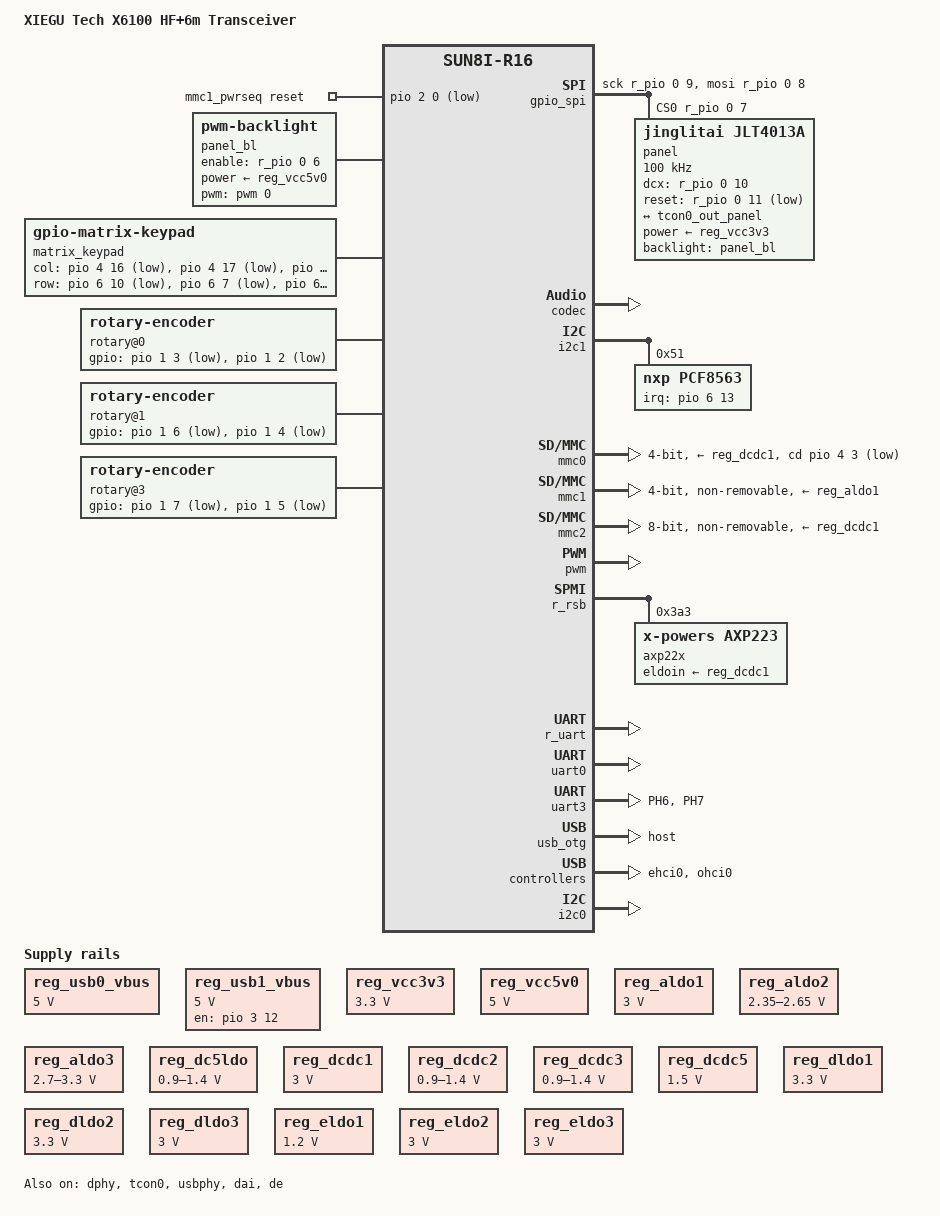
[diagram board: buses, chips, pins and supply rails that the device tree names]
/dts-v1/;

/*
 * Decompiled, and cleaned up device tree file for the X6100.
 * Thanks <apritzel> from #linux-sunxi @ OFTC (https://oftc.net/)
 */

#include "sun8i-a33.dtsi"

#include <dt-bindings/gpio/gpio.h>
#include <dt-bindings/input/input.h>
#include <dt-bindings/interrupt-controller/irq.h>

/ {
	model = "XIEGU Tech X6100 HF+6m Transceiver";
	compatible = "xiegu,x6100", "allwinner,sun8i-r16";

	aliases {
		serial0 = &uart0;
		mmc0 = &mmc0;
		mmc1 = &mmc1;
		mmc2 = &mmc2;
	};

	chosen {
		stdout-path = "serial0:115200n8";
	};

	reserved-memory {
		#address-cells = <1>;
		#size-cells = <1>;
		ranges;

		mali_cma: cma@4a000000 {
			compatible = "shared-dma-pool";
			size = <0x8000000>;
			alloc-ranges = <0x4a000000 0x8000000>;
			reusable;
			linux,cma-default;
		};
	};

	mmc1_pwrseq: mmc1-pwrseq {
		compatible = "mmc-pwrseq-simple";
		reset-gpios = <&pio 2 0 GPIO_ACTIVE_LOW>;	/* PC0 */
	};

	// voltage regulators from sunxi-common-regulators.dtsi
	reg_usb0_vbus: usb0-vbus {
		compatible = "regulator-fixed";
		regulator-name = "usb0-vbus";
		regulator-min-microvolt = <5000000>;
		regulator-max-microvolt = <5000000>;
		regulator-always-on;
	};

	reg_usb1_vbus: usb1-vbus {
		compatible = "regulator-fixed";
		regulator-name = "usb1-vbus";
		regulator-min-microvolt = <5000000>;
		regulator-max-microvolt = <5000000>;
		regulator-boot-on;
		enable-active-high;
		gpio = <&pio 3 12 GPIO_ACTIVE_HIGH>;	/* PD12 */
	};

	reg_vcc3v3: vcc3v3 {
		compatible = "regulator-fixed";
		regulator-name = "vcc3v3";
		regulator-min-microvolt = <3300000>;
		regulator-max-microvolt = <3300000>;
	};

	reg_vcc5v0: vcc5v0 {
		compatible = "regulator-fixed";
		regulator-name = "vcc5v0";
		regulator-min-microvolt = <5000000>;
		regulator-max-microvolt = <5000000>;
	};

	panel_bl: backlight {
		compatible = "pwm-backlight";
		pwms = <&pwm 0 50000 0>;
		brightness-levels = <0 10 20 30 40 50 60 70 80 90 100>;
		default-brightness-level = <5>;
		enable-gpios = <&r_pio 0 6 GPIO_ACTIVE_HIGH>; /* PL6 */
		power-supply = <&reg_vcc5v0>;
	};

	gpio_spi: gpio_spi {
		compatible = "spi-gpio";
		/* Clock on PL9, pin SCL */
		sck-gpios = <&r_pio 0 9 GPIO_ACTIVE_HIGH>;
		/* MOSI on PL8, pin SDI "slave data in" */
		mosi-gpios = <&r_pio 0 8 GPIO_ACTIVE_HIGH>;
		/* MISO on P??, pin SDO "slave data out" */
		//miso-gpios = <&r_pio 0 ? GPIO_ACTIVE_HIGH>;
		/* Chip select on PL7 */
		cs-gpios = <&r_pio 0 7 GPIO_ACTIVE_HIGH>;
		num-chipselects = <1>;

		#address-cells = <1>;
		#size-cells = <0>;

		panel@0 {
			compatible = "jinglitai,jlt4013a";
			spi-max-frequency = <100000>;

			reg = <0>;
			power-supply = <&reg_vcc3v3>;

			/* dcx on PL10 */
			/* Xiegu has GPIO_ACTIVE_LOW for dcx??? */
			dcx-gpios = <&r_pio 0 10 GPIO_ACTIVE_HIGH>;
			/* reset on PL11 */
			reset-gpios = <&r_pio 0 11 GPIO_ACTIVE_LOW>;

			backlight = <&panel_bl>;

			port {
				panel_in: endpoint {
					remote-endpoint = <&tcon0_out_panel>;
				};
			};
		};
	};

	// inputs
	matrix_keypad: matrix-keypad@0 {
		compatible = "gpio-matrix-keypad";
		col-gpios = <		/* PE11-PE17 */
			&pio 4 16 GPIO_ACTIVE_LOW
			&pio 4 17 GPIO_ACTIVE_LOW
			&pio 4 11 GPIO_ACTIVE_LOW
			&pio 4 14 GPIO_ACTIVE_LOW
			&pio 4 12 GPIO_ACTIVE_LOW
			&pio 4 13 GPIO_ACTIVE_LOW
		>;
		row-gpios = <		/* PG6-PG10 */
			&pio 6 10 (GPIO_ACTIVE_LOW|GPIO_OPEN_DRAIN|GPIO_PULL_UP)
			&pio 6  7 (GPIO_ACTIVE_LOW|GPIO_OPEN_DRAIN|GPIO_PULL_UP)
			&pio 6  6 (GPIO_ACTIVE_LOW|GPIO_OPEN_DRAIN|GPIO_PULL_UP)
			&pio 6  8 (GPIO_ACTIVE_LOW|GPIO_OPEN_DRAIN|GPIO_PULL_UP)
			&pio 6  9 (GPIO_ACTIVE_LOW|GPIO_OPEN_DRAIN|GPIO_PULL_UP)
		>;
		linux,keymap = <
			MATRIX_KEY(0, 0, BTN_TRIGGER_HAPPY1)
			MATRIX_KEY(0, 1, BTN_TRIGGER_HAPPY2)
			MATRIX_KEY(0, 2, BTN_TRIGGER_HAPPY3)
			MATRIX_KEY(0, 3, BTN_TRIGGER_HAPPY4)
			MATRIX_KEY(0, 4, BTN_TRIGGER_HAPPY5)
			MATRIX_KEY(0, 5, BTN_TRIGGER_HAPPY6)
			MATRIX_KEY(1, 0, BTN_TRIGGER_HAPPY7)
			MATRIX_KEY(1, 1, BTN_TRIGGER_HAPPY8)
			MATRIX_KEY(1, 2, BTN_TRIGGER_HAPPY9)
			MATRIX_KEY(1, 3, BTN_TRIGGER_HAPPY10)
			MATRIX_KEY(1, 4, BTN_TRIGGER_HAPPY11)
			MATRIX_KEY(1, 5, BTN_TRIGGER_HAPPY12)
			MATRIX_KEY(2, 0, BTN_TRIGGER_HAPPY13)
			MATRIX_KEY(2, 1, BTN_TRIGGER_HAPPY14)
			MATRIX_KEY(2, 2, BTN_TRIGGER_HAPPY15)
			MATRIX_KEY(2, 3, BTN_TRIGGER_HAPPY16)
			MATRIX_KEY(2, 4, BTN_TRIGGER_HAPPY17)
			MATRIX_KEY(2, 5, BTN_TRIGGER_HAPPY18)
			MATRIX_KEY(3, 0, BTN_TRIGGER_HAPPY19)
			MATRIX_KEY(3, 1, BTN_TRIGGER_HAPPY20)
			MATRIX_KEY(3, 2, BTN_TRIGGER_HAPPY21)
			MATRIX_KEY(3, 3, BTN_TRIGGER_HAPPY22)
			MATRIX_KEY(3, 4, BTN_TRIGGER_HAPPY23)
			MATRIX_KEY(3, 5, BTN_TRIGGER_HAPPY24)
			MATRIX_KEY(4, 0, BTN_TRIGGER_HAPPY25)
			MATRIX_KEY(4, 1, BTN_TRIGGER_HAPPY26)
			MATRIX_KEY(4, 2, BTN_TRIGGER_HAPPY27)
			MATRIX_KEY(4, 3, BTN_TRIGGER_HAPPY28)
			MATRIX_KEY(4, 4, BTN_TRIGGER_HAPPY29)
			MATRIX_KEY(4, 5, BTN_TRIGGER_HAPPY30)
		>;
		gpio-activelow;
		wakeup-source;
		linux,no-autorepeat;
		debounce-delay-ms = <25>;
		col-scan-delay-us = <1>;
		drive-inactive-cols;
	};

	rotary@0 {
		compatible = "rotary-encoder";
		pinctrl-names = "default";
		pinctrl-0 = <&rotary_1_pins>;
		gpios = <&pio 1 3 GPIO_ACTIVE_LOW>,	/* PB3 */
			<&pio 1 2 GPIO_ACTIVE_LOW>;	/* PB2 */
		linux,axis = <REL_X>;
		rotary-encoder,encoding = "gray";
		rotary-encoder,relative-axis;
	};

	rotary@1 {
		compatible = "rotary-encoder";
		pinctrl-names = "default";
		pinctrl-0 = <&rotary_2_pins>;
		gpios = <&pio 1 6 GPIO_ACTIVE_LOW>,	/* PB6 */
			<&pio 1 4 GPIO_ACTIVE_LOW>;	/* PB4 */
		linux,axis = <REL_Y>;
		rotary-encoder,encoding = "gray";
		rotary-encoder,relative-axis;
	};

	rotary@3 {
		compatible = "rotary-encoder";
		pinctrl-names = "default";
		pinctrl-0 = <&rotary_3_pins>;
		gpios = <&pio 1 7 GPIO_ACTIVE_LOW>,	/* PB7 */
			<&pio 1 5 GPIO_ACTIVE_LOW>;	/* PB5 */
		linux,axis = <REL_Z>;
		rotary-encoder,encoding = "gray";
		rotary-encoder,relative-axis;
	};
};


// fix properties
&codec {
	#sound-dai-cells = <0>;
};

&dphy {
	/delete-property/ interrupts;
};

&i2c1 {
	pcf8563: PCF8563@51 {			// rtc
		compatible = "nxp,pcf8563";
		reg = <0x51>;
		interrupt-parent = <&pio>;
		interrupts = <6 13 IRQ_TYPE_EDGE_FALLING>;
		interrupt-names = "irq";
		irq-gpios = <&pio 6 13 GPIO_ACTIVE_HIGH>;	/* PG13 */
	};
};

&lradc {
	/delete-property/ interrupt-parent;
};

&mali {
	memory-region = <&mali_cma>;
};

&mmc0 {
	vmmc-supply = <&reg_dcdc1>;
	cd-gpios = <&pio 4 3 GPIO_ACTIVE_LOW>;	/* PE3 */
	bus-width = <4>;
};

&mmc1 {
	pinctrl-names = "default";
	pinctrl-0 = <&mmc1_pg_pins>;
	vmmc-supply = <&reg_aldo1>;
	mmc-pwrseq = <&mmc1_pwrseq>;
	bus-width = <4>;
	non-removable;
};

&mmc2 {
	pinctrl-names = "default";
	pinctrl-0 = <&mmc2_8bit_pins>;
	vmmc-supply = <&reg_dcdc1>;
	bus-width = <8>;
	non-removable;
	cap-mmc-hw-reset;
};

&mmc2_8bit_pins {
	drive-strength = <40>;
};

&pio {
	/delete-property/ interrupt-parent;

	vcc-pb-supply = <&reg_vcc3v3>;
	vcc-pc-supply = <&reg_vcc3v3>;
	vcc-pd-supply = <&reg_vcc3v3>;
	vcc-pe-supply = <&reg_vcc3v3>;
	vcc-pf-supply = <&reg_vcc3v3>;
	vcc-pg-supply = <&reg_vcc3v3>;
	vcc-ph-supply = <&reg_vcc3v3>;
	vcc-pl-supply = <&reg_vcc3v3>;

	gpio-line-names =
		"", "", "", "", "", "", "", "", "", "", "", "", "", "", "", "",
		"", "", "", "", "", "", "", "", "", "", "", "", "", "", "", "",
		"PB0", "PB1", "rotary_1/1", "rotary_1/0", "rorary_2/1", "rotary_3/1", "rotary_2/0", "rotary_3/0", "", "", "", "", "", "", "", "",
		"", "", "", "", "", "", "", "", "", "", "", "", "", "", "", "",
		"mmc1_pwrseq/reset", "PC1", "PC2", "PC3", "PC4", "PC5", "PC6", "PC7", "PC8", "PC9", "PC10", "PC11", "PC12", "PC13", "PC14", "PC15",
		"PC16", "", "", "", "", "", "", "", "", "", "", "", "", "", "", "",
		"", "", "PD2", "PD3", "PD4", "PD5", "PD6", "PD7", "", "", "PD10", "PD11", "usb1_vbus", "PD13", "PD14", "PD15",
		"", "", "PD18", "PD19", "PD20", "PD21", "PD22", "PD23", "PD24", "PD25", "PD26", "PD27", "", "", "", "",
		"PE0", "PE1", "PE2", "mmc0/cd", "PE4", "PE5", "PE6", "PE7", "PE8", "PE9", "civ", "matrix_keypad/col2", "matrix_keypad/col4", "matrix_keypad/col5", "matrix_keypad/col3", "keyboard_backlight",
		"matrix_keypad/col0", "matrix_keypad/col1", "", "", "", "", "", "", "", "", "", "", "", "", "", "",
		"PF0", "PF1", "PF2", "PF3", "PF4", "PF5", "", "", "", "", "", "", "", "", "", "",
		"", "", "", "", "", "", "", "", "", "", "", "", "", "", "", "",
		"PG0", "PG1", "PG2", "PG3", "PG4", "PG5", "matrix_keypad/row2", "matrix_keypad/row1", "matrix_keypad/row3", "matrix_keypad/row4", "matrix_keypad/row0", "morse_key", "bb_reset", "rtc/irq", "", "",
		"", "", "", "", "", "", "", "", "", "", "", "", "", "", "", "",
		"PH0", "PH1", "PH2", "PH3", "PH4", "PH5", "uart3/rx", "uart3/tx", "usb0/id_detect", "usb0/vbus_detect", "", "", "", "", "", "",
		"", "", "", "", "", "", "", "", "", "", "", "", "", "", "", "";

	usb0_id_detect_pin: usb0_id_detect_pin@0 {
		pins = "PH8";
		function = "gpio_in";
		bias-pull-up;
	};

	usb0_vbus_detect_pin: usb0_vbus_detect_pin@0 {
		pins = "PH9";
		function = "gpio_in";
		bias-pull-down;
	};

	uart3_pins: uart3@0 {
		pins = "PH6", "PH7";
		function = "uart3";
	};

	rotary_1_pins: rotary-1-pins {
		pins = "PB2", "PB3";
		function = "gpio_in";
		bias-pull-up;
	};

	rotary_2_pins: rotary-2-pins {
		pins = "PB4", "PB6";
		function = "gpio_in";
		bias-pull-up;
	};

	rotary_3_pins: rotary-3-pins {
		pins = "PB5", "PB7";
		function = "gpio_in";
		bias-pull-up;
	};
};

&pwm {
	pinctrl-names = "default";
	pinctrl-0 = <&pwm0_pin>;
};

&r_intc {
	#interrupt-cells = <2>;
};

&r_pio {
	/delete-property/ interrupt-parent;

	resets = <&apb0_rst 0>;

	gpio-line-names =
		"PL0", "PL1", "PL2", "PL3", "PL4", "wifi", "panel_backlight/enable", "gpio_spi/cs", "gpio_spi/mosi", "gpio_spi/sck", "panel/dcx", "panel/reset", "", "", "", "",
		"", "", "", "", "", "", "", "", "", "", "", "", "", "", "", "";
};

&r_rsb {
	axp22x: pmic@3a3 {
		compatible = "x-powers,axp223";
		reg = <0x3a3>;
		interrupt-parent = <&r_intc>;
		//interrupts = <GIC_SPI 32 IRQ_TYPE_LEVEL_LOW>;
		interrupts = <0 8>;
		eldoin-supply = <&reg_dcdc1>;
	};
};

#include "axp223.dtsi"

/delete-node/ &axp_gpio;

&reg_aldo1 {
	regulator-name = "vcc-io";
	regulator-always-on;
	regulator-min-microvolt = <3000000>;
	regulator-max-microvolt = <3000000>;
};

&reg_aldo2 {
	regulator-name = "vdd-dll";
	regulator-always-on;
	regulator-min-microvolt = <2350000>;
	regulator-max-microvolt = <2650000>;
};

&reg_aldo3 {
	regulator-name = "vcc-pll-avcc";
	regulator-always-on;
	regulator-min-microvolt = <2700000>;
	regulator-max-microvolt = <3300000>;
};

&reg_dc1sw {
	regulator-name = "vcc-lcd";
	regulator-always-on;
};

&reg_dc5ldo {
	regulator-name = "vdd-cpus";
	regulator-always-on;
	regulator-min-microvolt = <900000>;
	regulator-max-microvolt = <1400000>;
};

&reg_dcdc1 {
	regulator-name = "vcc-3v0";
	regulator-always-on;
	regulator-min-microvolt = <3000000>;
	regulator-max-microvolt = <3000000>;
};

&reg_dcdc2 {
	regulator-name = "vdd-sys";
	regulator-always-on;
	regulator-min-microvolt = <900000>;
	regulator-max-microvolt = <1400000>;
};

&reg_dcdc3 {
	regulator-name = "vdd-cpu";
	regulator-always-on;
	regulator-min-microvolt = <900000>;
	regulator-max-microvolt = <1400000>;
};

&reg_dcdc5 {
	regulator-name = "vcc-dram";
	regulator-always-on;
	regulator-min-microvolt = <1500000>;
	regulator-max-microvolt = <1500000>;
};

&reg_dldo1 {
	regulator-name = "vcc-wifi0";
	regulator-always-on;
	regulator-min-microvolt = <3300000>;
	regulator-max-microvolt = <3300000>;
};

&reg_dldo2 {
	regulator-name = "vcc-wifi1";
	regulator-always-on;
	regulator-min-microvolt = <3300000>;
	regulator-max-microvolt = <3300000>;
};

&reg_dldo3 {
	regulator-name = "vcc-3v0-csi";
	regulator-min-microvolt = <3000000>;
	regulator-max-microvolt = <3000000>;
};

&reg_drivevbus {
	regulator-name = "usb0-vbus";
};

&reg_eldo1 {
	regulator-name = "vcc-1v2-hsic";
	regulator-min-microvolt = <1200000>;
	regulator-max-microvolt = <1200000>;
};

&reg_eldo2 {
	regulator-name = "vcc-dsp";
	regulator-min-microvolt = <3000000>;
	regulator-max-microvolt = <3000000>;
};

&reg_eldo3 {
	regulator-min-microvolt = <3000000>;
	regulator-max-microvolt = <3000000>;
};

&r_uart {
	pinctrl-names = "default";
	pinctrl-0 = <&r_uart_pins_a>;
};

&rtc {
	/delete-property/ interrupt-parent;
};

&sound {
	simple-audio-card,routing =
		"Left DAC", "AIF1 Slot 0 Left",
		"Right DAC", "AIF1 Slot 0 Right",
		"AIF1 Slot 0 Left ADC", "Left ADC",
		"AIF1 Slot 0 Right ADC", "Right ADC";
};

&link_codec {
	sound-dai = <&codec>;
};

&tcon0 {
	clock-output-names = "tcon-pixel-clock";
	pinctrl-names = "default";
	pinctrl-0 = <&lcd_rgb666_pins>;
};

&tcon0_out {
	tcon0_out_panel: endpoint@0 {
		reg = <0>;
		remote-endpoint = <&panel_in>;
	};
};

&uart0 {
	dma-names = "rx", "tx";
	pinctrl-names = "default";
	pinctrl-0 = <&uart0_pb_pins>;
};

&uart1 {
	dma-names = "rx", "tx";
};

&uart2 {
	dma-names = "rx", "tx";
};

&uart3 {
	dma-names = "rx", "tx";
	pinctrl-names = "default";
	pinctrl-0 = <&uart3_pins>;
};

&uart4 {
	dma-names = "rx", "tx";
};

&usb_otg {
	dr_mode = "host";
};

&usbphy {
	pinctrl-names = "default";
	pinctrl-0 = <&usb0_id_detect_pin>;
	usb0_id_det-gpios = <&pio 7 8 GPIO_ACTIVE_HIGH>;	/* PH8 */
	usb0_vbus_power-supply = <&usb_power_supply>;
	usb0_vbus-supply = <&reg_usb0_vbus>;
	usb1_vbus-supply = <&reg_vcc5v0>;
};


// enable nodes
&ac_power_supply {
	status = "okay";
};

&battery_power_supply {
	status = "okay";
};

&codec {
	status = "okay";
};

&dai {
	status = "okay";
};

&de {				/* display engine */
	status = "okay";
};

&dphy {
	status = "okay";
};

&ehci0 {
	status = "okay";
};

&gpio_spi {
	status = "okay";
};

&i2c0 {
	status = "okay";
};

&i2c1 {
	status = "okay";
};

&mmc0 {
	status = "okay";
};

&mmc1 {
	status = "okay";
};

&mmc2 {
	status = "okay";
};

&ohci0 {
	status = "okay";
};

&pwm {
	status = "okay";
};

&r_rsb {
	status = "okay";
};

&r_uart {
	status = "okay";
};

&reg_usb0_vbus {
	status = "okay";
};

&reg_drivevbus {
	status = "okay";
};

&reg_usb1_vbus {
	status = "okay";
};

&sound {
	status = "okay";
};

&tcon0 {
	status = "okay";
};

&uart0 {
	status = "okay";
};

&uart3 {
	status = "okay";
};

&usb_otg {
	status = "okay";
};

&usb_power_supply {
	status = "okay";
};

&usbphy {
	status = "okay";
};
